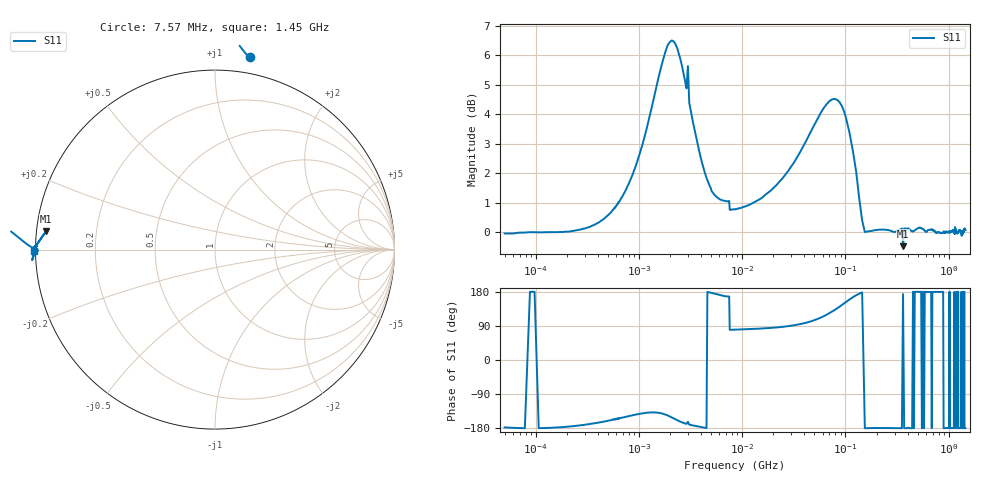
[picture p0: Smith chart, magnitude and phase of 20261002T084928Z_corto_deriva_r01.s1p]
! piloto_deriva / corto_deriva / r01
# HZ S RI R 50
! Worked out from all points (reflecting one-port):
!   501 points, 50 kHz to 1.45 GHz, reference 50 ohm
!   lowest |S11| = -0.5 dB at 361 MHz (marker M1), VSWR 36.71, Z = 1.37 + j2.68 ohm
!   phase of S11 starts at -178 deg and turns -2 deg over the sweep
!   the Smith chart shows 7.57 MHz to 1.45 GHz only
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50000  -0.9946 -0.0374
183000  -0.9994 -0.0508
363500  -1.003 -0.223
658000  -1.013 -0.5081
1180000  -1.131 -0.9733
1630000  -1.463 -1.211
1990000  -1.802 -1.085
2440000  -1.898 -0.6513
2800000  -1.761 -0.3904
3250000  -1.56 -0.2172
4330000  -1.264 -0.0296
7300000  -1.103 0.2415
7750000  0.194 1.074
8560000  0.1876 1.079
1.9e7  0.1091 1.173
3.16e7  -0.0342 1.311
4.69e7  -0.3218 1.454
6.76e7  -0.8601 1.417
8.02e7  -1.158 1.219
9.46e7  -1.363 0.8779
9.82e7  -1.384 0.7846
1e8  -1.392 0.7371
1.18e8  -1.331 0.3392
1.36e8  -1.135 0.1002
1.63e8  -1.003 -0.00384
3.61e8  -0.9415 0.1014
4.06e8  -1.015 -0.0242
1.45e9  -1.009 -0.00633
